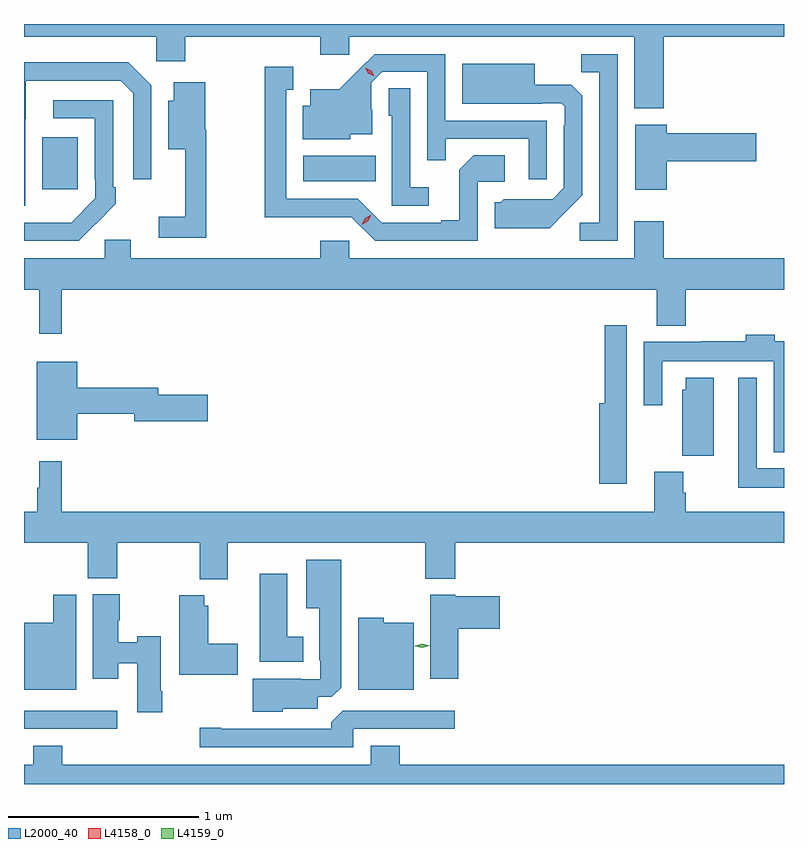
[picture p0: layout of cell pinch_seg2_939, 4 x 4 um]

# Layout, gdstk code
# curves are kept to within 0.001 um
import gdstk
lib = gdstk.Library(unit=1e-6, precision=1e-09)
def R(c, l, rs):  # rectangles x0, y0, x1, y1
    for r in rs: c.add(gdstk.rectangle(r[:2], r[2:], *l))
def P(c, l, *ps):  # polygons
    for p in ps: c.add(gdstk.Polygon(p, *l))
L2000_40 = (2000, 40)
L4158_0 = (4158, 0)
L4159_0 = (4159, 0)

pinch_seg2_939 = lib.new_cell('pinch_seg2_939')
R(pinch_seg2_939, L2000_40, [(324.383,651.984,324.874,652.08), (324.479,654.825,324.667,655.099), (325.854,654.866,326.234,655)])
P(pinch_seg2_939, L2000_40, [(327.749,655.628),(328.383,655.628),(328.383,655.694),(324.383,655.694),(324.383,655.628),(325.08,655.628),(325.08,655.497),(325.232,655.497),(325.232,655.628),(325.943,655.628),(325.943,655.533),(326.094,655.533),(326.094,655.628),(327.596,655.628),(327.596,655.25),(327.749,655.25)],
  [(327.507,655.536),(327.316,655.536),(327.316,655.441),(327.411,655.441),(327.411,654.648),(327.309,654.648),(327.309,654.552),(327.507,654.552)],
  [(327.135,655.185),(326.601,655.185),(326.601,655.536),(326.228,655.536),(326.041,655.351),(325.889,655.351),(325.889,655.264),(325.85,655.264),(325.85,655.088),(326.1,655.088),(326.1,655.115),(326.215,655.115),(326.215,655.244),(326.211,655.244),(326.211,655.386),(326.268,655.443),(326.505,655.443),(326.505,654.976),(326.603,654.976),(326.603,655.089),(327.039,655.089),(327.039,654.876),(327.135,654.876)],
  [(324.39,655.195),(324.391,655.195),(324.391,655.395),(324.891,655.395),(324.957,655.329),(324.957,654.876),(325.053,654.876),(325.053,655.371),(324.932,655.492),(324.383,655.492),(324.383,654.738),(324.39,654.738)],
  [(327.229,654.701),(327.321,654.794),(327.321,655.316),(327.262,655.375),(327.07,655.375),(327.07,655.486),(326.69,655.486),(326.69,655.274),(327.11,655.274),(327.11,655.278),(327.21,655.278),(327.228,655.26),(327.228,655.16),(327.225,655.16),(327.225,654.831),(327.165,654.771),(326.908,654.772),(326.892,654.756),(326.861,654.756),(326.861,654.62),(327.149,654.62)],
  [(326.772,654.864),(326.914,654.864),(326.914,655.004),(326.749,655.004),(326.673,654.928),(326.673,654.661),(326.579,654.661),(326.579,654.648),(326.265,654.648),(326.139,654.774),(325.762,654.774),(325.762,655.347),(325.801,655.347),(325.801,655.468),(325.651,655.468),(325.651,654.677),(326.106,654.678),(326.232,654.552),(326.772,654.552)],
  [(325.342,655.138),(325.338,655.138),(325.338,655.387),(325.172,655.387),(325.172,655.291),(325.142,655.291),(325.142,655.034),(325.232,655.034),(325.232,654.679),(325.092,654.679),(325.092,654.57),(325.342,654.57)],
  [(326.512,654.835),(326.415,654.835),(326.415,655.355),(326.304,655.355),(326.304,655.212),(326.319,655.212),(326.319,654.738),(326.512,654.738)],
  [(324.761,654.643),(324.762,654.642),(324.867,654.747),(324.867,654.835),(324.852,654.835),(324.852,655.293),(324.537,655.293),(324.537,655.197),(324.756,655.197),(324.756,654.877),(324.759,654.877),(324.759,654.777),(324.631,654.649),(324.383,654.648),(324.383,654.552),(324.67,654.552)],
  [(327.766,654.971),(328.237,654.971),(328.237,655.118),(327.766,655.118),(327.766,655.165),(327.599,655.165),(327.599,654.822),(327.766,654.822)],
  [(324.581,654.296),(327.713,654.296),(327.713,654.107),(327.866,654.107),(327.866,654.296),(328.383,654.296),(328.383,654.46),(327.749,654.46),(327.749,654.655),(327.596,654.655),(327.596,654.46),(326.094,654.46),(326.094,654.553),(325.943,654.553),(325.943,654.46),(324.946,654.46),(324.946,654.558),(324.807,654.558),(324.807,654.46),(324.383,654.46),(324.383,654.296),(324.464,654.296),(324.464,654.063),(324.581,654.063)],
  [(327.556,653.594),(327.555,653.594),(327.555,654.109),(327.439,654.109),(327.439,653.698),(327.41,653.698),(327.41,653.274),(327.556,653.274)],
  [(328.383,654.025),(328.333,654.025),(328.333,654.058),(328.181,654.058),(328.181,654.025),(327.949,654.025),(327.949,654.022),(327.645,654.022),(327.645,653.688),(327.741,653.688),(327.741,653.918),(328.329,653.918),(328.329,653.441),(328.383,653.441)],
  [(324.664,653.644),(324.962,653.644),(324.962,653.602),(325.351,653.602),(325.351,653.744),(325.09,653.744),(325.09,653.78),(324.664,653.78),(324.664,653.917),(324.449,653.917),(324.449,653.507),(324.664,653.507)],
  [(328.012,653.833),(327.866,653.833),(327.866,653.769),(327.848,653.769),(327.848,653.422),(328.012,653.422)],
  [(328.383,653.356),(328.239,653.356),(328.239,653.833),(328.142,653.833),(328.142,653.252),(328.383,653.252)],
  [(325.456,652.964),(326.494,652.964),(326.494,652.775),(326.654,652.775),(326.654,652.964),(328.383,652.964),(328.383,653.128),(327.866,653.128),(327.866,653.228),(327.853,653.228),(327.853,653.337),(327.701,653.337),(327.701,653.128),(324.581,653.128),(324.581,653.392),(324.464,653.392),(324.464,653.252),(324.453,653.252),(324.453,653.128),(324.383,653.128),(324.383,652.964),(324.718,652.964),(324.718,652.777),(324.873,652.777),(324.873,652.964),(325.309,652.964),(325.309,652.772),(325.456,652.772)],
  [(325.746,652.091),(325.93,652.091),(325.93,652.152),(326.004,652.152),(326.053,652.201),(326.053,652.873),(325.868,652.873),(325.868,652.619),(325.937,652.619),(325.937,652.345),(325.941,652.345),(325.941,652.245),(325.841,652.245),(325.841,652.249),(325.586,652.249),(325.586,652.073),(325.746,652.073)],
  [(325.852,652.468),(325.768,652.468),(325.768,652.801),(325.625,652.801),(325.625,652.337),(325.852,652.337)],
  [(325.11,652.183),(325.102,652.183),(325.102,652.472),(324.98,652.472),(324.98,652.441),(324.88,652.441),(324.88,652.555),(324.888,652.555),(324.888,652.692),(324.746,652.692),(324.746,652.248),(324.88,652.248),(324.88,652.33),(324.98,652.33),(324.98,652.071),(325.11,652.071)],
  [(326.669,652.511),(326.887,652.511),(326.887,652.681),(326.652,652.681),(326.652,652.69),(326.522,652.69),(326.522,652.248),(326.669,652.248)],
  [(324.658,652.69),(324.536,652.69),(324.536,652.543),(324.383,652.543),(324.383,652.19),(324.658,652.19)],
  [(325.507,652.431),(325.354,652.431),(325.354,652.633),(325.332,652.633),(325.332,652.687),(325.199,652.687),(325.199,652.268),(325.507,652.268)],
  [(326.434,652.543),(326.277,652.543),(326.277,652.57),(326.141,652.57),(326.141,652.19),(326.434,652.19)],
  [(326.115,651.984),(326.65,651.984),(326.65,652.08),(326.061,652.08),(326,652.018),(326,651.984),(325.42,651.984),(325.42,651.989),(325.308,651.989),(325.308,651.888),(326.115,651.888)],
  [(328.383,651.796),(326.36,651.796),(326.36,651.895),(326.207,651.895),(326.207,651.796),(324.584,651.796),(324.584,651.895),(324.431,651.895),(324.431,651.796),(324.383,651.796),(324.383,651.694),(328.383,651.694)])
P(pinch_seg2_939, L4158_0, [(326.227,655.418),(326.196,655.434),(326.179,655.463),(326.179,655.463),(326.179,655.463),(326.21,655.448),(326.227,655.419),(326.227,655.418)],
  [(326.16,654.638),(326.16,654.638),(326.178,654.671),(326.21,654.69),(326.21,654.69),(326.21,654.689),(326.192,654.657),(326.16,654.638)])
P(pinch_seg2_939, L4159_0, [(326.479,652.412),(326.441,652.42),(326.44,652.421),(326.441,652.421),(326.479,652.431),(326.518,652.422),(326.518,652.422),(326.518,652.422)])

lib.write_gds('pinch_seg2_939.gds')
